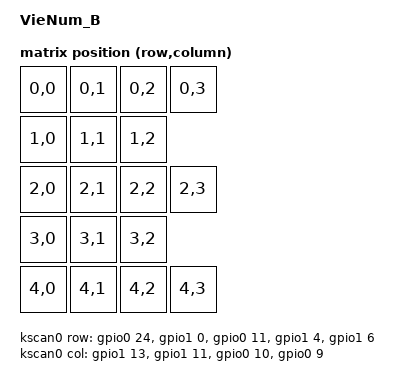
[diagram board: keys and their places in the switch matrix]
/*
 * Copyright (c) 2021 Nick Winans
 *
 * SPDX-License-Identifier: MIT
 */

/dts-v1/;
#include <nordic/nrf52840_qiaa.dtsi>
#include <dt-bindings/zmk/matrix_transform.h>
#include <dt-bindings/led/led.h>

/ {
	model = "VieNum_B";
	compatible = "vienum,b";

	chosen {
        zephyr,display = &oled;
		zephyr,code-partition = &code_partition;
		zephyr,sram = &sram0;
		zephyr,flash = &flash0;
		zmk,kscan = &kscan0;
		zmk,matrix_transform = &default_transform;
        zmk,underglow = &led_strip;
		zephyr,console = &cdc_acm_uart;
		zmk,battery = &vbatt;
	};

	default_transform: keymap_transform_0 {
		compatible = "zmk,matrix-transform";
		columns = <12>;
		rows = <4>;
        map = <
            RC(0,0) RC(0,1) RC(0,2) RC(0,3)
            RC(1,0) RC(1,1) RC(1,2) 
            RC(2,0) RC(2,1) RC(2,2) RC(2,3)
            RC(3,0) RC(3,1) RC(3,2)
            RC(4,0) RC(4,1) RC(4,2) RC(4,3)
        >;
    };

	kscan0: kscan {
		compatible = "zmk,kscan-gpio-matrix";
		label = "KSCAN";

		diode-direction = "col2row";
		row-gpios
			= <&gpio0 24  (GPIO_ACTIVE_HIGH | GPIO_PULL_DOWN)> // row 0
			, <&gpio1 0   (GPIO_ACTIVE_HIGH | GPIO_PULL_DOWN)> // row 1
			, <&gpio0 11  (GPIO_ACTIVE_HIGH | GPIO_PULL_DOWN)> // row 2
			, <&gpio1 4   (GPIO_ACTIVE_HIGH | GPIO_PULL_DOWN)> // row 3
			, <&gpio1 6   (GPIO_ACTIVE_HIGH | GPIO_PULL_DOWN)> // row 4
			;
		col-gpios
			= <&gpio1 13  GPIO_ACTIVE_HIGH> // col 0
			, <&gpio1 11  GPIO_ACTIVE_HIGH> // col 1
			, <&gpio0 10  GPIO_ACTIVE_HIGH> // col 2
			, <&gpio0 9   GPIO_ACTIVE_HIGH> // col 3
			;
	};

	leds {
		compatible = "gpio-leds";
		blue_led: led_0 {
			gpios = <&gpio0 15 GPIO_ACTIVE_HIGH>;
			label = "Blue LED";
		};
	};

	ext-power {
		compatible = "zmk,ext-power-generic";
		label = "EXT_POWER";
		control-gpios = <&gpio0 13 GPIO_ACTIVE_HIGH>;
	};

	vbatt: vbatt {
		compatible = "zmk,battery-voltage-divider";
		label = "BATTERY";
		io-channels = <&adc 7>;
		output-ohms = <2000000>;
		full-ohms = <(2000000 + 806000)>;
	};
};

&adc {
	status = "okay";
};

&gpio0 {
	status = "okay";
};

&gpio1 {
	status = "okay";
};

&usbd {
	status = "okay";
	cdc_acm_uart: cdc_acm_uart {
		compatible = "zephyr,cdc-acm-uart";
		label = "CDC_ACM_0";
	};
};

&uart0 {
	compatible = "nordic,nrf-uarte";
	tx-pin = <6>;
	rx-pin = <8>;
};

&spi1 {
  compatible = "nordic,nrf-spim";
  status = "okay";
  // WS2812B pinout (PX.Y = 32*X+Y)
  mosi-pin = <31>;
  // Unused pins, needed for SPI definition, but not used by the ws2812 driver itself.
  sck-pin = <6>;
  miso-pin = <8>;

  led_strip: ws2812@0 {
    compatible = "worldsemi,ws2812-spi";
    label = "WS2812";

    /* SPI */
    reg = <0>; /* ignored, but necessary for SPI bindings */
    spi-max-frequency = <4000000>;

    /* WS2812 */
    chain-length = <9>; /* number of LEDs */
    spi-one-frame = <0x70>;
    spi-zero-frame = <0x40>;
    color-mapping = <LED_COLOR_ID_GREEN
                     LED_COLOR_ID_RED
                     LED_COLOR_ID_BLUE>;
  };
};

&i2c0 {
	compatible = "nordic,nrf-twi";
	sda-pin = <15>;
	scl-pin = <17>;
	status = "okay";

    oled: ssd1306@3c {
		compatible = "solomon,ssd1306fb";
		reg = <0x3c>;
		label = "DISPLAY";
		width = <128>;
		height = <32>;
		segment-offset = <0>;
		page-offset = <0>;
		display-offset = <0>;
		multiplex-ratio = <31>;
		segment-remap;
		com-invdir;
		com-sequential;
		prechargep = <0x22>;
	};
};

&flash0 {
	/*
	 * For more information, see:
	 * http://docs.zephyrproject.org/latest/devices/dts/flash_partitions.html
	 */
	partitions {
		compatible = "fixed-partitions";
		#address-cells = <1>;
		#size-cells = <1>;

		sd_partition: partition@0 {
			label = "mbr";
			reg = <0x00000000 0x00001000>;
		};

		code_partition: partition@1000 {
			label = "code_partition";
			reg = <0x00001000 0x000d3000>;
		};

		/*
		 * The flash starting at 0x000d4000 and ending at
		 * 0x000f3fff is reserved for use by the application.
		 */

		/*
		 * Storage partition will be used by FCB/LittleFS/NVS
		 * if enabled.
		 */
		storage_partition: partition@d4000 {
			label = "storage";
			reg = <0x000d4000 0x00020000>;
		};

		boot_partition: partition@f4000 {
			label = "adafruit_boot";
			reg = <0x000f4000 0x0000c000>;
		};
	};
};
